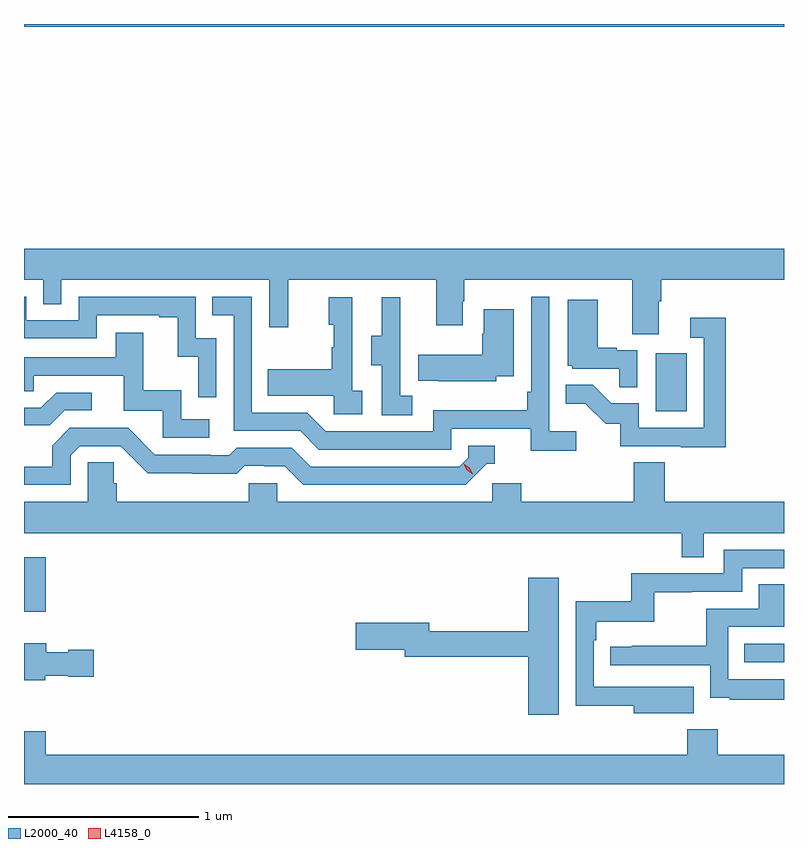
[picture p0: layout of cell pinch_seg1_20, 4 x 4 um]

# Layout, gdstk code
import gdstk
lib = gdstk.Library(unit=1e-6, precision=1e-09)
def R(c, l, rs):  # rectangles x0, y0, x1, y1
    for r in rs: c.add(gdstk.rectangle(r[:2], r[2:], *l))
def P(c, l, *ps):  # polygons
    for p in ps: c.add(gdstk.Polygon(p, *l))
L2000_40 = (2000, 40)
L4158_0 = (4158, 0)

pinch_seg1_20 = lib.new_cell('pinch_seg1_20')
R(pinch_seg1_20, L2000_40, [(1118.431,572.364,1118.639,572.46), (1114.639,572.63,1114.754,572.917), (1117.964,573.684,1118.128,573.991), (1114.639,575.708,1118.639,575.723)])
P(pinch_seg1_20, L2000_40, [(1117.981,574.264),(1117.994,574.264),(1117.994,574.376),(1118.639,574.376),(1118.639,574.54),(1114.639,574.54),(1114.639,574.376),(1114.74,574.376),(1114.74,574.249),(1114.836,574.249),(1114.836,574.376),(1115.931,574.376),(1115.931,574.128),(1116.029,574.128),(1116.029,574.376),(1116.809,574.376),(1116.809,574.137),(1116.949,574.137),(1116.949,574.265),(1116.957,574.265),(1116.957,574.376),(1117.841,574.376),(1117.841,574.09),(1117.981,574.09)],
  [(1117.546,573.58),(1117.404,573.58),(1117.404,574.288),(1117.308,574.288),(1117.308,573.787),(1117.288,573.787),(1117.288,573.691),(1116.792,573.691),(1116.792,573.579),(1116.228,573.579),(1116.129,573.678),(1115.838,573.678),(1115.838,574.287),(1115.629,574.287),(1115.629,574.191),(1115.742,574.191),(1115.742,573.582),(1116.092,573.582),(1116.191,573.483),(1116.888,573.483),(1116.888,573.594),(1117.307,573.594),(1117.307,573.478),(1117.546,573.478)],
  [(1115.652,574.068),(1115.544,574.068),(1115.544,574.287),(1114.926,574.287),(1114.926,574.164),(1114.65,574.164),(1114.65,574.287),(1114.639,574.287),(1114.639,574.068),(1115.022,574.068),(1115.022,574.191),(1115.351,574.191),(1115.351,574.179),(1115.447,574.179),(1115.447,573.971),(1115.556,573.971),(1115.556,573.759),(1115.652,573.759)],
  [(1116.682,573.767),(1116.618,573.767),(1116.618,574.071),(1116.62,574.071),(1116.62,574.285),(1116.521,574.285),(1116.521,574.083),(1116.467,574.083),(1116.467,573.928),(1116.522,573.928),(1116.522,573.664),(1116.682,573.664)],
  [(1116.418,573.794),(1116.366,573.794),(1116.366,574.285),(1116.242,574.285),(1116.242,574.14),(1116.268,574.14),(1116.268,574.022),(1116.258,574.022),(1116.258,573.907),(1115.923,573.907),(1115.923,573.767),(1116.27,573.767),(1116.27,573.669),(1116.418,573.669)],
  [(1117.866,574.005),(1117.76,574.005),(1117.76,574.018),(1117.66,574.018),(1117.66,574.273),(1117.502,574.273),(1117.502,573.924),(1117.524,573.924),(1117.524,573.909),(1117.771,573.909),(1117.771,573.811),(1117.866,573.811)],
  [(1117.125,573.869),(1117.216,573.869),(1117.216,574.222),(1117.058,574.222),(1117.058,574.094),(1117.051,574.094),(1117.051,573.982),(1116.715,573.982),(1116.715,573.845),(1116.823,573.845),(1116.823,573.842),(1117.125,573.842)],
  [(1118.333,574.177),(1118.145,574.177),(1118.145,574.071),(1118.217,574.071),(1118.217,573.597),(1117.875,573.597),(1117.875,573.726),(1117.731,573.726),(1117.633,573.824),(1117.489,573.824),(1117.489,573.725),(1117.593,573.725),(1117.7,573.618),(1117.777,573.618),(1117.777,573.501),(1118.095,573.501),(1118.095,573.496),(1118.333,573.496)],
  [(1115.614,573.642),(1115.466,573.642),(1115.466,573.796),(1115.267,573.796),(1115.267,574.099),(1115.123,574.099),(1115.123,573.969),(1114.639,573.969),(1114.639,573.789),(1114.691,573.789),(1114.691,573.873),(1115.165,573.873),(1115.165,573.687),(1115.37,573.687),(1115.37,573.546),(1115.614,573.546)],
  [(1114.854,573.69),(1114.996,573.69),(1114.996,573.783),(1114.808,573.783),(1114.727,573.702),(1114.639,573.702),(1114.639,573.61),(1114.774,573.61)],
  [(1114.884,573.453),(1114.932,573.501),(1115.148,573.501),(1115.29,573.359),(1115.526,573.359),(1115.526,573.357),(1115.759,573.357),(1115.801,573.399),(1115.904,573.399),(1115.904,573.396),(1116.011,573.396),(1116.11,573.297),(1116.963,573.297),(1117.074,573.408),(1117.117,573.408),(1117.117,573.504),(1116.978,573.504),(1116.978,573.441),(1116.93,573.393),(1116.147,573.393),(1116.048,573.492),(1115.759,573.492),(1115.72,573.453),(1115.621,573.453),(1115.621,573.456),(1115.328,573.456),(1115.187,573.597),(1114.881,573.597),(1114.787,573.503),(1114.787,573.393),(1114.639,573.393),(1114.639,573.297),(1114.884,573.297)],
  [(1118.217,573.044),(1118.639,573.044),(1118.639,573.208),(1118.012,573.208),(1118.012,573.416),(1117.847,573.416),(1117.847,573.208),(1117.256,573.208),(1117.256,573.306),(1117.104,573.306),(1117.104,573.208),(1115.973,573.208),(1115.973,573.306),(1115.823,573.306),(1115.823,573.208),(1115.126,573.208),(1115.126,573.306),(1115.111,573.306),(1115.111,573.416),(1114.974,573.416),(1114.974,573.208),(1114.639,573.208),(1114.639,573.044),(1118.101,573.044),(1118.101,572.917),(1118.217,572.917)],
  [(1118.165,572.236),(1117.951,572.236),(1117.951,572.235),(1117.638,572.235),(1117.638,572.48),(1117.652,572.48),(1117.652,572.576),(1117.957,572.576),(1117.957,572.731),(1118.153,572.731),(1118.153,572.736),(1118.418,572.736),(1118.418,572.859),(1118.639,572.859),(1118.639,572.955),(1118.322,572.955),(1118.322,572.832),(1117.836,572.832),(1117.836,572.686),(1117.542,572.686),(1117.542,572.134),(1117.847,572.134),(1117.847,572.096),(1118.165,572.096)],
  [(1117.453,572.809),(1117.292,572.809),(1117.292,572.528),(1116.772,572.528),(1116.772,572.571),(1116.384,572.571),(1116.384,572.429),(1116.644,572.429),(1116.644,572.392),(1117.292,572.392),(1117.292,572.088),(1117.453,572.088)],
  [(1118.639,572.274),(1118.346,572.274),(1118.346,572.55),(1118.639,572.55),(1118.639,572.774),(1118.507,572.774),(1118.507,572.646),(1118.23,572.646),(1118.23,572.45),(1117.837,572.45),(1117.837,572.445),(1117.725,572.445),(1117.725,572.349),(1118.25,572.349),(1118.25,572.177),(1118.353,572.177),(1118.353,572.166),(1118.639,572.166)],
  [(1114.752,572.294),(1114.872,572.294),(1114.872,572.287),(1115.005,572.287),(1115.005,572.429),(1114.872,572.429),(1114.872,572.416),(1114.756,572.416),(1114.756,572.464),(1114.639,572.464),(1114.639,572.27),(1114.752,572.27)],
  [(1118.639,571.876),(1118.289,571.876),(1118.289,572.011),(1118.129,572.011),(1118.129,571.876),(1114.754,571.876),(1114.754,572),(1114.639,572),(1114.639,571.723),(1118.639,571.723)])
P(pinch_seg1_20, L4158_0, [(1117,573.354),(1116.97,573.374),(1116.954,573.407),(1116.954,573.408),(1116.954,573.408),(1116.985,573.388),(1117.001,573.354),(1117.001,573.354)])

lib.write_gds('pinch_seg1_20.gds')
